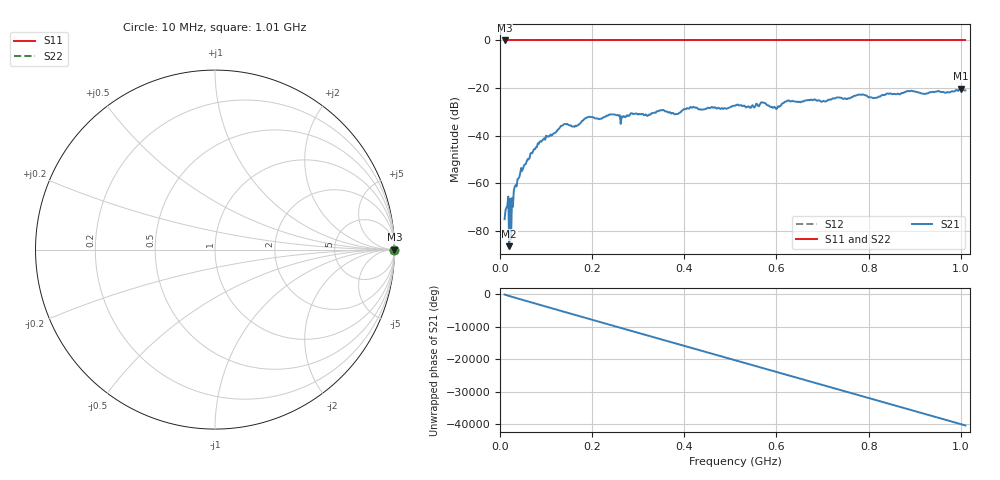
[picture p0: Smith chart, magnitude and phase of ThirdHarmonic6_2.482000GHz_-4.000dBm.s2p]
! 8/17/2025 4:38:12 AM
! C:\ANRITSUVNA\TEMP\TEMP.S2P
! CHANNEL.1
! TR.MEASUREMENT
! RAW.DATA
! RF.CORRECTION.OFF
! AVERAGING.OFF
! IF.BANDWIDTH: 5KHZ
! SWEEPTYPE:  FREQ.SWEEP(Linear)
! Reference Plane Port Info
! PORT:  PORT1  PORT2
! DISTANCE:  0  m  0  m
! TIME:  0  s  0  s
! PHASE.OFFSET:  0  deg.  0  deg.
! LOSS:  0  dB  0  dB
! REF.LOSS:  0  dB  0  dB
! REF.FREQ:  0  Hz  0  Hz
! Power Info
! POWER:  -20  dBm  -20  dBm
! EFF.POWER:  -20  dBm  -20  dBm
! SOURCE.ATTEN:  0  dB  0  dB
! TEST.ATTEN:  0  dB  0  dB
# GHZ S RI R 50.0
! FREQ.GHZ  S11RE  S11IM  S21RE  S21IM  S12RE  S12IM  S22RE  S22IM
!; PortSelection: Port_12
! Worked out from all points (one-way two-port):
!   501 points, 10 MHz to 1.01 GHz, reference 50 ohm
!   highest |S21| = -20.19 dB at 1 GHz (marker M1); lowest = -86.3 dB at 20 MHz (marker M2)
!   lowest |S11| = 0.0 dB at 10 MHz (marker M3)
!   |S11| at or under -10 dB: nowhere
!   |S22| runs from 0.0 to 0.0 dB; largest |S21 - S12| = 1.1
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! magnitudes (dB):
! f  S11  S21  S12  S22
! 10 MHz  0.0  -75.0  0.0  0.0
! 14 MHz  0.0  -70.1  0.0  0.0
! 20 MHz  0.0  -86.3  0.0  0.0
! 24 MHz  0.0  -83.5  0.0  0.0
! 30 MHz  0.0  -63.0  0.0  0.0
! 42 MHz  0.0  -57.3  0.0  0.0
! 84 MHz  0.0  -43.5  0.0  0.0
! 136 MHz  0.0  -35.6  0.0  0.0
! 162 MHz  0.0  -36.2  0.0  0.0
! 178 MHz  0.0  -33.8  0.0  0.0
! 192 MHz  0.0  -32.1  0.0  0.0
! 344 MHz  0.0  -29.7  0.0  0.0
! 382 MHz  0.0  -30.9  0.0  0.0
! 416 MHz  0.0  -28.2  0.0  0.0
! 510 MHz  0.0  -27.4  0.0  0.0
! 570 MHz  0.0  -26.0  0.0  0.0
! 598 MHz  0.0  -28.4  0.0  0.0
! 622 MHz  0.0  -25.5  0.0  0.0
! 678 MHz  0.0  -25.0  0.0  0.0
! 844 MHz  0.0  -22.4  0.0  0.0
! 1 GHz  0.0  -20.2  0.0  0.0
! 1.01 GHz  0.0  -21.0  0.0  0.0
